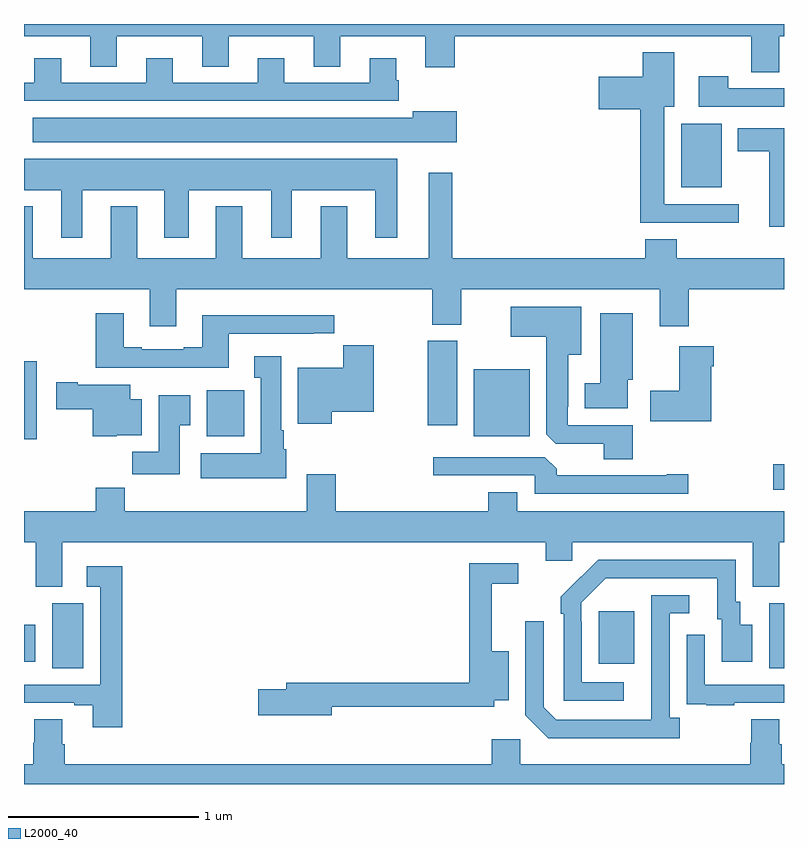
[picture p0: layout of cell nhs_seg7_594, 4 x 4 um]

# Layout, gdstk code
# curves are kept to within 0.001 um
import gdstk
lib = gdstk.Library(unit=1e-6, precision=1e-09)
def R(c, l, rs):  # rectangles x0, y0, x1, y1
    for r in rs: c.add(gdstk.rectangle(r[:2], r[2:], *l))
def P(c, l, *ps):  # polygons
    for p in ps: c.add(gdstk.Polygon(p, *l))
L2000_40 = (2000, 40)

nhs_seg7_594 = lib.new_cell('nhs_seg7_594')
R(nhs_seg7_594, L2000_40, [(157.148,1010.608,157.312,1010.952), (160.922,1010.608,161,1010.952), (160.025,1010.633,160.213,1010.908), (157,1010.643,157.06,1010.839), (160.944,1011.548,161,1011.683), (157,1011.815,157.066,1012.225), (157.961,1011.83,158.158,1012.072), (159.368,1011.83,159.661,1012.183), (159.125,1011.888,159.28,1012.332), (160.46,1013.141,160.672,1013.476)])
P(nhs_seg7_594, L2000_40, [(157,1013.936),(157.349,1013.936),(157.349,1013.776),(157.489,1013.776),(157.489,1013.936),(157.937,1013.936),(157.937,1013.776),(158.077,1013.776),(158.077,1013.936),(158.525,1013.936),(158.525,1013.776),(158.665,1013.776),(158.665,1013.936),(159.113,1013.936),(159.113,1013.772),(159.266,1013.772),(159.266,1013.936),(160.828,1013.936),(160.828,1013.746),(160.975,1013.746),(160.975,1013.936),(161,1013.936),(161,1014),(157,1014)],
  [(160.762,1013.052),(160.369,1013.052),(160.369,1013.564),(160.423,1013.564),(160.423,1013.851),(160.256,1013.851),(160.256,1013.722),(160.026,1013.722),(160.026,1013.552),(160.244,1013.552),(160.244,1012.955),(160.762,1012.955)],
  [(158.972,1013.703),(158.959,1013.703),(158.959,1013.821),(158.819,1013.821),(158.819,1013.691),(158.371,1013.691),(158.371,1013.821),(158.231,1013.821),(158.231,1013.691),(157.783,1013.691),(157.783,1013.821),(157.643,1013.821),(157.643,1013.691),(157.195,1013.691),(157.195,1013.821),(157.055,1013.821),(157.055,1013.691),(157,1013.691),(157,1013.595),(158.972,1013.595)],
  [(161,1013.661),(160.707,1013.661),(160.707,1013.725),(160.551,1013.725),(160.551,1013.565),(161,1013.565)],
  [(159.277,1013.542),(159.047,1013.542),(159.047,1013.506),(157.047,1013.506),(157.047,1013.378),(159.277,1013.378)],
  [(161,1013.452),(160.757,1013.452),(160.757,1013.33),(160.922,1013.33),(160.922,1012.932),(161,1012.932)],
  [(157.306,1013.126),(157.739,1013.126),(157.739,1012.875),(157.867,1012.875),(157.867,1013.126),(158.3,1013.126),(158.3,1012.875),(158.41,1012.875),(158.41,1013.126),(158.849,1013.126),(158.849,1012.875),(158.965,1012.875),(158.965,1013.29),(157,1013.29),(157,1013.126),(157.196,1013.126),(157.196,1012.875),(157.306,1012.875)],
  [(157.801,1012.604),(159.149,1012.604),(159.149,1012.417),(159.301,1012.417),(159.301,1012.604),(160.346,1012.604),(160.346,1012.41),(160.499,1012.41),(160.499,1012.604),(161,1012.604),(161,1012.768),(160.436,1012.768),(160.436,1012.867),(160.271,1012.867),(160.271,1012.768),(159.253,1012.768),(159.253,1013.218),(159.131,1013.218),(159.131,1012.768),(158.701,1012.768),(158.701,1013.041),(158.561,1013.041),(158.561,1012.768),(158.149,1012.768),(158.149,1013.041),(158.009,1013.041),(158.009,1012.768),(157.597,1012.768),(157.597,1013.041),(157.457,1013.041),(157.457,1012.768),(157.045,1012.768),(157.045,1013.041),(157,1013.041),(157,1012.604),(157.661,1012.604),(157.661,1012.41),(157.801,1012.41)],
  [(160.205,1011.888),(159.861,1011.888),(159.861,1011.985),(159.865,1011.985),(159.865,1012.259),(159.934,1012.259),(159.934,1012.513),(159.561,1012.513),(159.561,1012.355),(159.749,1012.355),(159.749,1011.841),(159.798,1011.792),(160.052,1011.792),(160.052,1011.709),(160.205,1011.709)],
  [(160.177,1012.128),(160.204,1012.128),(160.204,1012.477),(160.034,1012.477),(160.034,1012.108),(159.95,1012.108),(159.95,1011.977),(160.177,1011.977)],
  [(158.077,1012.371),(158.525,1012.371),(158.525,1012.373),(158.634,1012.373),(158.634,1012.468),(157.937,1012.468),(157.937,1012.3),(157.841,1012.3),(157.841,1012.287),(157.621,1012.287),(157.621,1012.3),(157.525,1012.3),(157.525,1012.477),(157.378,1012.477),(157.378,1012.19),(158.077,1012.19)],
  [(158.62,1011.959),(158.842,1011.959),(158.842,1012.308),(158.681,1012.308),(158.681,1012.192),(158.441,1012.192),(158.441,1011.896),(158.62,1011.896)],
  [(160.618,1012.199),(160.631,1012.199),(160.631,1012.303),(160.448,1012.303),(160.448,1012.071),(160.296,1012.071),(160.296,1011.908),(160.618,1011.908)],
  [(158.38,1011.762),(158.368,1011.762),(158.368,1011.862),(158.353,1011.862),(158.353,1012.252),(158.213,1012.252),(158.213,1012.139),(158.246,1012.139),(158.246,1011.742),(157.929,1011.742),(157.929,1011.608),(158.38,1011.608)],
  [(157.488,1011.836),(157.621,1011.836),(157.621,1012.024),(157.558,1012.024),(157.558,1012.102),(157.282,1012.102),(157.282,1012.115),(157.17,1012.115),(157.17,1011.973),(157.363,1011.973),(157.363,1011.83),(157.488,1011.83)],
  [(157.819,1011.889),(157.876,1011.889),(157.876,1012.045),(157.709,1012.045),(157.709,1011.748),(157.57,1011.748),(157.57,1011.63),(157.819,1011.63)],
  [(160.495,1011.629),(160.382,1011.629),(160.382,1011.624),(159.803,1011.624),(159.803,1011.658),(159.741,1011.72),(159.153,1011.72),(159.153,1011.624),(159.687,1011.624),(159.687,1011.528),(160.495,1011.528)],
  [(157.201,1011.272),(159.746,1011.272),(159.746,1011.174),(159.885,1011.174),(159.885,1011.272),(160.835,1011.272),(160.835,1011.037),(160.975,1011.037),(160.975,1011.272),(161,1011.272),(161,1011.436),(159.595,1011.436),(159.595,1011.535),(159.443,1011.535),(159.443,1011.436),(158.642,1011.436),(158.642,1011.631),(158.489,1011.631),(158.489,1011.436),(157.529,1011.436),(157.529,1011.56),(157.378,1011.56),(157.378,1011.436),(157,1011.436),(157,1011.272),(157.061,1011.272),(157.061,1011.037),(157.201,1011.037)],
  [(160.156,1010.535),(159.936,1010.535),(159.936,1010.855),(159.933,1010.855),(159.933,1010.955),(160.062,1011.084),(160.649,1011.084),(160.649,1010.868),(160.673,1010.868),(160.673,1010.643),(160.834,1010.643),(160.834,1010.839),(160.771,1010.839),(160.771,1010.958),(160.746,1010.958),(160.746,1011.18),(160.022,1011.18),(159.825,1010.985),(159.825,1010.897),(159.84,1010.897),(159.84,1010.439),(160.156,1010.439)],
  [(158.62,1010.406),(159.474,1010.406),(159.474,1010.441),(159.55,1010.441),(159.55,1010.698),(159.461,1010.698),(159.461,1011.054),(159.601,1011.054),(159.601,1011.162),(159.343,1011.162),(159.343,1010.534),(158.381,1010.534),(158.381,1010.498),(158.232,1010.498),(158.232,1010.363),(158.62,1010.363)],
  [(157.517,1011.145),(157.329,1011.145),(157.329,1011.039),(157.401,1011.039),(157.401,1010.523),(157,1010.523),(157,1010.427),(157.265,1010.427),(157.265,1010.415),(157.361,1010.415),(157.361,1010.298),(157.517,1010.298)],
  [(160.45,1010.35),(160.398,1010.35),(160.398,1010.898),(160.501,1010.898),(160.501,1010.994),(160.302,1010.994),(160.301,1010.337),(159.801,1010.337),(159.735,1010.403),(159.735,1010.857),(159.639,1010.857),(159.639,1010.361),(159.76,1010.24),(160.45,1010.24)],
  [(160.739,1010.427),(161,1010.427),(161,1010.523),(160.584,1010.523),(160.584,1010.785),(160.488,1010.785),(160.488,1010.53),(160.489,1010.53),(160.489,1010.421),(160.591,1010.421),(160.591,1010.415),(160.739,1010.415)],
  [(161,1010.104),(160.988,1010.104),(160.988,1010.21),(160.975,1010.21),(160.975,1010.342),(160.828,1010.342),(160.828,1010.217),(160.823,1010.217),(160.823,1010.104),(159.612,1010.104),(159.612,1010.236),(159.461,1010.236),(159.461,1010.104),(157.214,1010.104),(157.214,1010.21),(157.201,1010.21),(157.201,1010.342),(157.054,1010.342),(157.054,1010.217),(157.049,1010.217),(157.049,1010.104),(157,1010.104),(157,1010),(161,1010)])

lib.write_gds('nhs_seg7_594.gds')
